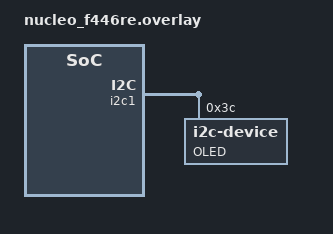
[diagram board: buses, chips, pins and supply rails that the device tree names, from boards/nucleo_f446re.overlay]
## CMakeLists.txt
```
# SPDX-License-Identifier: Apache-2.0

cmake_minimum_required(VERSION 3.20.0)
find_package(Zephyr REQUIRED HINTS $ENV{ZEPHYR_BASE})
project(c_the_world)

target_sources(app PRIVATE src/main.c src/display.c src/utils.c)
target_include_directories(app PRIVATE include)
```

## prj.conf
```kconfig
# Required for GPIO communication
CONFIG_GPIO=y
# Required for I2C communications
CONFIG_I2C=y

# Required if using the shell
CONFIG_SHELL=y
# Useful for I2C commands for testing
CONFIG_I2C_SHELL=y
```

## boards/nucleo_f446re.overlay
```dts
/* i2c connections */
&i2c1 {
    oled: oled@3c{
        compatible = "i2c-device";
        reg = < 0x3c >;
        label = "OLED";
    };
};
```

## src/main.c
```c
#include <zephyr/kernel.h>

#include "display.h"
#include "utils.h"

int main(void)
{
	if (!device_is_ready(display_i2c.bus))
	{
		printk("I2C bus %s is not ready!\n\r", display_i2c.bus->name);
		return 0;
	}

	init_display(&display_i2c);

	return 0;
}
```

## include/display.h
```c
#include <zephyr/drivers/i2c.h>

#pragma once

// Defining an I2C node named "oled"
// - "oled" must be mapped in the overlay or device tree
#define I2C0_NODE DT_NODELABEL(oled)

// Init commands
// "oled" dimensions
#define OLED_PAGES 8
#define OLED_HEIGHT 64
#define OLED_WIDTH 128
// this = OLED_WIDTH / 8
#define OLED_BYTES_PER_ROW 16

// "oled" commands
#define DISPLAY_OFF 0xAE
#define DISPLAY_ON 0xAF

#define CLOCK 0xD5
#define CLOCK_DEFAULT 0x80

#define MULTIPLEX 0xA8
#define MULTIPLEX_VALUE 0x3F

#define DISPLAY_OFFSET 0xD3
#define DISPLAY_OFFSET_DEFAULT 0x00

#define START_LINE 0x40

#define CHARGE_PUMP 0x8D
#define CHARGE_PUMP_ON 0x14

#define MEMORY_WRITE_MODE 0x20
// 0x00 is go right along the row then go next at the end
#define MEMORY_WRITE_BY_PAGE 0x00

// 0xA1 start left
// 0xA0 start right
#define HORIZONTAL_ORIENTATION 0xA1
// 0xC8 start top
// 0xC8 start bottom
#define VERTICAL_ORIENTATION 0xC8

#define COM_PINS 0xDA
#define COM_PINS_VALUE 0x12

#define BRIGHTNESS 0x81
// 0x00 - 0xFF
#define BRIGHTNESS_LEVEL 0xCF

#define CONTRAST_POWER_EFFICIENCY 0xD9
#define CONTRAST_POWER_EFFICIENCY_VALUE 0xF1

#define STABILITY_POWER_CONSUMPTION 0xDB
#define STABILITY_POWER_CONSUMPTION_VALUE 0x40

#define DISPLAY_RAM 0xA4
#define DISPLAY_ALL_ON 0xA5

#define NORMAL_DISPLAY 0xA6
// Just means instead of 0 off, 1 on -> 0 on, 1 off
#define INVERSE_DISPLAY 0xA7

// Flushing
#define FLUSH_BYTES 16

extern const struct i2c_dt_spec display_i2c;

void init_display(const struct i2c_dt_spec *device_spec);

// int write_pixel(const uint8_t page, const uint8_t y, const uint8_t value);

void draw_bitmap(const uint8_t *bitmap, uint8_t width, uint8_t height, uint8_t bytes_per_row);

void flush_buffer(const struct i2c_dt_spec *device_spec);
```

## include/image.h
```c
#pragma once

#define BACKGROUND_HEIGHT 64
#define BACKGROUND_WIDTH 128
// this = BACKGROUND_WIDTH / 8
#define BACKGROUND_BYTES_PER_ROW 16

unsigned const char raw_background[] = {
    0x00, 0x00, 0x00, 0x00, 0x00, 0x00, 0x00, 0x00, 0x00, 0x00, 0x00, 0x00,
    0x00, 0x00, 0x00, 0x00, 0x00, 0x00, 0x80, 0x00, 0x00, 0x00, 0x00, 0x00,
    0x00, 0x00, 0x00, 0x00, 0x00, 0x00, 0x00, 0x00, 0x02, 0x10, 0x00, 0x00,
    0x00, 0x00, 0x40, 0x00, 0x00, 0x00, 0x00, 0x00, 0x00, 0x00, 0x40, 0x00,
    0x10, 0x38, 0x00, 0x01, 0x02, 0x00, 0xe0, 0x44, 0x00, 0x00, 0x00, 0x01,
    0x02, 0x00, 0xe0, 0x04, 0x00, 0x10, 0x10, 0x04, 0x00, 0x00, 0x40, 0x00,
    0x00, 0x00, 0x00, 0x04, 0x00, 0x00, 0x40, 0x00, 0x00, 0x00, 0x00, 0x00,
    0x00, 0x00, 0x00, 0x00, 0x00, 0x00, 0x00, 0x00, 0x00, 0x00, 0x00, 0x00,
    0x00, 0x00, 0x00, 0x00, 0x00, 0x00, 0x00, 0x00, 0x00, 0x00, 0x40, 0x00,
    0x00, 0x00, 0x00, 0x00, 0x00, 0x00, 0x00, 0x00, 0x00, 0x10, 0x00, 0x20,
    0x00, 0x00, 0x00, 0x00, 0x00, 0x10, 0x00, 0x20, 0x20, 0x00, 0x00, 0x00,
    0x00, 0x00, 0x00, 0x01, 0x00, 0x00, 0x00, 0x00, 0x00, 0x00, 0x00, 0x01,
    0x00, 0xe0, 0x02, 0x00, 0x00, 0x00, 0x00, 0x00, 0x00, 0x10, 0x00, 0x00,
    0x00, 0x00, 0x00, 0x00, 0x03, 0xc0, 0x00, 0x00, 0x00, 0x00, 0x00, 0x00,
    0x00, 0x00, 0x00, 0x00, 0x00, 0x00, 0x00, 0x00, 0x0f, 0x80, 0x00, 0x40,
    0x00, 0x00, 0x00, 0x00, 0x00, 0x00, 0x00, 0x40, 0x00, 0x00, 0x00, 0x00,
    0x1f, 0x00, 0x00, 0x00, 0x00, 0x00, 0x00, 0x00, 0x00, 0x00, 0x00, 0x00,
    0x00, 0x00, 0x00, 0x00, 0x1e, 0x00, 0x00, 0x00, 0x00, 0x00, 0x00, 0x00,
    0x00, 0x00, 0x00, 0x00, 0x00, 0x00, 0x00, 0x00, 0x3d, 0x00, 0x02, 0x00,
    0x00, 0x00, 0x00, 0x00, 0x00, 0x00, 0x00, 0x00, 0x00, 0x00, 0x00, 0x60,
    0x3e, 0x00, 0x00, 0x00, 0x00, 0x00, 0x00, 0x00, 0x00, 0x00, 0x00, 0x00,
    0x00, 0x00, 0x01, 0xf9, 0x7d, 0x00, 0x00, 0x00, 0x00, 0x80, 0x00, 0x01,
    0x00, 0x00, 0x00, 0x00, 0x00, 0x00, 0x03, 0xff, 0x7e, 0x00, 0x00, 0x00,
    0x00, 0x00, 0x00, 0x00, 0x00, 0x00, 0x00, 0x00, 0x0e, 0x3f, 0x07, 0xff,
    0x7d, 0x00, 0x10, 0x40, 0x00, 0x00, 0x00, 0x00, 0x00, 0x00, 0x00, 0x40,
    0x1f, 0xff, 0xcf, 0xff, 0x7e, 0x80, 0x20, 0x00, 0x00, 0x00, 0x00, 0x00,
    0x00, 0x00, 0x00, 0x00, 0x7f, 0xff, 0xff, 0xfe, 0x7f, 0x40, 0x50, 0x00,
    0x00, 0x00, 0x00, 0x00, 0x00, 0x04, 0x00, 0x00, 0xff, 0xff, 0xef, 0xf5,
    0x3f, 0xaa, 0xa0, 0x00, 0x00, 0x00, 0x00, 0x00, 0x00, 0x00, 0x00, 0x00,
    0xff, 0xff, 0xff, 0xaa, 0x3f, 0xd5, 0x60, 0x00, 0x00, 0x00, 0x00, 0x00,
    0x00, 0x00, 0x00, 0x00, 0xff, 0xfd, 0xdf, 0xd7, 0x1f, 0xff, 0xc0, 0x00,
    0x00, 0x00, 0x00, 0x00, 0x00, 0x00, 0x00, 0x00, 0x7f, 0xff, 0xf5, 0x6f,
    0x1f, 0xff, 0xc0, 0x00, 0x80, 0x80, 0x00, 0x00, 0x00, 0x00, 0x00, 0x00,
    0x7f, 0xfb, 0xfa, 0xbf, 0x0f, 0xff, 0x80, 0x00, 0x00, 0x00, 0x04, 0x00,
    0x00, 0x00, 0x00, 0x00, 0x5f, 0xdf, 0xff, 0xff, 0x03, 0xfe, 0x00, 0x00,
    0x00, 0x00, 0x00, 0x00, 0x00, 0x00, 0x00, 0x00, 0x2a, 0xaf, 0xff, 0xf8,
    0x00, 0xf8, 0x00, 0x00, 0x00, 0x00, 0x00, 0x00, 0x00, 0x00, 0x00, 0x00,
    0xd5, 0x5f, 0xfc, 0x02, 0x00, 0x00, 0x00, 0x00, 0x00, 0x00, 0x00, 0x00,
    0x00, 0x00, 0x00, 0x01, 0xea, 0xbf, 0xf9, 0x55, 0x00, 0x00, 0x40, 0x00,
    0x00, 0x00, 0x00, 0x00, 0x00, 0x00, 0x00, 0x07, 0xff, 0xff, 0xc2, 0xaa,
    0x00, 0x00, 0xa0, 0x00, 0x00, 0x00, 0x00, 0x00, 0x00, 0x00, 0x00, 0x0f,
    0xff, 0xff, 0x95, 0x05, 0x00, 0x00, 0x40, 0x00, 0x01, 0x00, 0x00, 0x00,
    0x00, 0x04, 0x00, 0x1f, 0xfc, 0x00, 0x28, 0x00, 0x00, 0x00, 0x00, 0x00,
    0x00, 0x00, 0x00, 0x00, 0x20, 0x00, 0x00, 0x3f, 0xf9, 0x54, 0x40, 0x00,
    0x08, 0x00, 0x00, 0x00, 0x00, 0x00, 0x00, 0x00, 0x70, 0x00, 0x00, 0x2f,
    0x82, 0xa9, 0x00, 0xa0, 0x00, 0x00, 0x00, 0x00, 0x00, 0x00, 0x00, 0x80,
    0x20, 0x00, 0x00, 0x30, 0x15, 0x52, 0x00, 0x40, 0x40, 0x00, 0x00, 0x00,
    0x00, 0x00, 0x00, 0x00, 0x00, 0x00, 0x00, 0x2a, 0xaa, 0xa0, 0x00, 0x80,
    0x00, 0x00, 0x10, 0x00, 0x00, 0x00, 0x00, 0x00, 0x00, 0x00, 0x00, 0x15,
    0x55, 0x00, 0x01, 0x04, 0x00, 0x00, 0x00, 0x01, 0x00, 0x00, 0x00, 0x00,
    0x00, 0x00, 0x00, 0x1a, 0xa8, 0x00, 0x20, 0x08, 0x00, 0x00, 0x00, 0x00,
    0x00, 0x00, 0x00, 0x00, 0x00, 0x00, 0x00, 0x0d, 0x50, 0x00, 0x10, 0x1e,
    0x00, 0x00, 0x00, 0x00, 0x00, 0x00, 0x00, 0x00, 0x00, 0x00, 0x00, 0x06,
    0xa0, 0x06, 0x00, 0x30, 0x00, 0x00, 0x00, 0x00, 0x00, 0x00, 0x00, 0x00,
    0x00, 0x00, 0x00, 0x04, 0x00, 0x23, 0x00, 0x64, 0x00, 0x00, 0x00, 0x00,
    0x00, 0x01, 0x00, 0x00, 0x00, 0x00, 0x00, 0x02, 0x00, 0xf1, 0x81, 0xdf,
    0x00, 0x00, 0x00, 0x00, 0x00, 0x00, 0x00, 0x00, 0x00, 0x00, 0x00, 0x01,
    0x80, 0x1c, 0xc3, 0xf0, 0x00, 0x00, 0x00, 0x00, 0x00, 0x00, 0x00, 0x00,
    0x00, 0x00, 0x00, 0x00, 0x40, 0x06, 0xef, 0x80, 0x00, 0x00, 0x00, 0x00,
    0x00, 0x00, 0x00, 0x00, 0x20, 0x00, 0x00, 0x02, 0x20, 0x03, 0x36, 0x0c,
    0x00, 0x00, 0x00, 0x00, 0x00, 0x00, 0x00, 0x00, 0x00, 0x00, 0x00, 0x00,
    0x1e, 0x01, 0xd2, 0x33, 0x00, 0x00, 0x00, 0x00, 0x08, 0x00, 0x00, 0x00,
    0x00, 0x00, 0x80, 0x00, 0x01, 0xfc, 0xf8, 0xc0, 0x00, 0x00, 0x00, 0x00,
    0x00, 0x00, 0x00, 0x00, 0x00, 0x00, 0x00, 0x00, 0x00, 0x00, 0x3c, 0x00,
    0x00, 0x00, 0x00, 0x00, 0x00, 0x00, 0x00, 0x00, 0x00, 0x00, 0x00, 0x00,
    0x00, 0x00, 0x5e, 0x00, 0x00, 0x00, 0x00, 0x00, 0x00, 0x00, 0x00, 0x00,
    0x00, 0x00, 0x00, 0x00, 0x00, 0x20, 0x2e, 0x00, 0x50, 0x00, 0x00, 0x00,
    0x00, 0x00, 0x00, 0x00, 0x00, 0x00, 0x00, 0x00, 0x00, 0x50, 0x37, 0x14,
    0x28, 0x00, 0x0a, 0x00, 0x00, 0x00, 0x00, 0x08, 0x00, 0x00, 0x00, 0x00,
    0x00, 0x00, 0x17, 0x08, 0x14, 0x00, 0x0f, 0x00, 0x00, 0x00, 0x00, 0x00,
    0x00, 0x00, 0x00, 0x00, 0x00, 0x00, 0x17, 0x00, 0x08, 0x00, 0x0f, 0x00,
    0x80, 0x00, 0x00, 0x00, 0x00, 0x00, 0x00, 0x00, 0x00, 0x00, 0x17, 0x00,
    0x14, 0x00, 0x0f, 0x00, 0x00, 0x00, 0x00, 0x00, 0x00, 0x00, 0x00, 0x00,
    0x80, 0x00, 0x17, 0x00, 0x48, 0x00, 0x0e, 0x00, 0x00, 0x00, 0x00, 0x00,
    0x00, 0x00, 0x00, 0x00, 0x00, 0x00, 0x17, 0x00, 0x88, 0x00, 0x1e, 0x00,
    0x00, 0x00, 0x00, 0x00, 0x00, 0x00, 0x00, 0x00, 0x00, 0x00, 0x2d, 0x00,
    0x48, 0x08, 0x3e, 0x00, 0x00, 0x00, 0x00, 0x00, 0x00, 0x00, 0x00, 0x00,
    0x00, 0x50, 0x1d, 0x40, 0xa8, 0x04, 0x7e, 0x00, 0x00, 0x00, 0x00, 0x00,
    0x00, 0x00, 0x00, 0x00, 0x00, 0x20, 0x7b, 0x40, 0x48, 0x04, 0x7e, 0x00,
    0x00, 0x00, 0x00, 0x00, 0x00, 0x00, 0x00, 0x00, 0x00, 0x01, 0xee, 0xe0,
    0x48, 0x06, 0x7e, 0x00, 0x00, 0x00, 0x00, 0x00, 0x00, 0x00, 0x00, 0x00,
    0x00, 0x03, 0xcd, 0xf0, 0x48, 0x03, 0xfb, 0x00, 0x00, 0x00, 0x00, 0x00,
    0x00, 0x10, 0x08, 0x00, 0x00, 0x0f, 0x0c, 0x38, 0x49, 0x24, 0x92, 0x49,
    0x24, 0x92, 0x41, 0x24, 0x45, 0x12, 0x11, 0x49, 0x24, 0x92, 0x49, 0x24,
    0x22, 0x22, 0x22, 0x22, 0x22, 0x22, 0x22, 0x22, 0x48, 0x98, 0x8c, 0xa2,
    0x22, 0x22, 0x22, 0x22};
```

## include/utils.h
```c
#pragma once

#define COMMAND_BYTE 0x00
#define DATA_BYTE 0x40

#define MAX_BUFFER_SIZE 16

int write_i2c_command(const struct i2c_dt_spec *device, char command);

int write_data_i2c_command(const struct i2c_dt_spec *device_spec, uint8_t *data, uint8_t width);

void handle_i2c_write_failure(const struct i2c_dt_spec *device_spec, char command);

void handle_i2c_write_data_failure(const struct i2c_dt_spec *device_spec);
```

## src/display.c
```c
#include <zephyr/kernel.h>

#include "display.h"
#include "utils.h"
#include "image.h"

// Initializing the node we just defined
const struct i2c_dt_spec display_i2c = I2C_DT_SPEC_GET(I2C0_NODE);

// Initializing the display buffer
// - width * height / 8bits per byte
static uint8_t display_buffer[OLED_HEIGHT * OLED_WIDTH / 8];

// Sequence of commands for startup of display
static const uint8_t init_commands[] = {
    DISPLAY_OFF,
    CLOCK, CLOCK_DEFAULT,
    MULTIPLEX, MULTIPLEX_VALUE,
    DISPLAY_OFFSET, DISPLAY_OFFSET_DEFAULT,
    START_LINE,
    CHARGE_PUMP, CHARGE_PUMP_ON,
    MEMORY_WRITE_MODE, MEMORY_WRITE_BY_PAGE,
    HORIZONTAL_ORIENTATION, VERTICAL_ORIENTATION,
    COM_PINS, COM_PINS_VALUE,
    BRIGHTNESS, BRIGHTNESS_LEVEL,
    CONTRAST_POWER_EFFICIENCY, CONTRAST_POWER_EFFICIENCY_VALUE,
    STABILITY_POWER_CONSUMPTION, STABILITY_POWER_CONSUMPTION_VALUE,
    DISPLAY_RAM,
    NORMAL_DISPLAY,
    DISPLAY_ON};

// Starts up the display
void init_display(const struct i2c_dt_spec *device_spec)
{
    // Ensure power stablized
    k_sleep(K_MSEC(1000));

    for (size_t i = 0; i < sizeof(init_commands); i++)
    {
        if (write_i2c_command(device_spec, init_commands[i]))
        {
            handle_i2c_write_failure(device_spec, init_commands[i]);
            return;
        }
    }

    memset(display_buffer, 0, sizeof(display_buffer));

    draw_bitmap(raw_background, BACKGROUND_WIDTH, BACKGROUND_HEIGHT, BACKGROUND_BYTES_PER_ROW);

    flush_buffer(device_spec);
}

void flush_buffer(const struct i2c_dt_spec *device_spec)
{
    // Current code skips last partial chunk unless display_buffer is divisible by FLUSH_BYTES
    // In this case 1024 / 16 = 64
    for (uint8_t i = 0; i < sizeof(display_buffer) / FLUSH_BYTES; i++)
    {
        if (write_data_i2c_command(device_spec, &display_buffer[i * FLUSH_BYTES], FLUSH_BYTES))
        {
            handle_i2c_write_data_failure(device_spec);
            return;
        }
    }
}

// int write_pixel(const uint8_t row, const uint8_t col, const uint8_t value)
// {
//     uint8_t page = row / 8;
//     uint8_t bit = (1 << (row % 8));

//     if (value)
//         display_buffer[page][col] |= bit;
//     else
//         display_buffer[page][col] &= ~bit;
// }

void draw_bitmap(const uint8_t *bitmap, uint8_t width, uint8_t height, uint8_t bytes_per_row)
{
    if (width > OLED_WIDTH)
    {
        printk("Failed to draw bitmap onto OLED!");
        return;
    }

    for (uint8_t page = 0; page < OLED_PAGES; page++)
    {
        for (uint8_t col = 0; col < width; col++)
        {
            uint8_t byte = 0;

            // Construct vertical byte across 8 rows for the same column
            // - Assuming bitmap is ROW major
            // - Must convert to COLUMN major fit for our OLED
            for (uint8_t bit = 0; bit < 8; bit++)
            {
                uint8_t row = page * 8 + bit;
                uint8_t bitmap_byte = bitmap[row * bytes_per_row + (col / 8)];
                uint8_t bitmap_bit = (bitmap_byte >> (7 - (col % 8))) & 0x1;

                byte |= (bitmap_bit << bit);
            }

            display_buffer[page * OLED_WIDTH + col] = byte;
        }
    }
}
```

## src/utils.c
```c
#include <zephyr/kernel.h>
#include <zephyr/drivers/i2c.h>

#include "utils.h"

static uint8_t buffer[MAX_BUFFER_SIZE + 1];

// Reusabe helper to write commands to i2c devices
int write_i2c_command(const struct i2c_dt_spec *device_spec, char command)
{
    // I2C commands are prefixed with the 0x00 byte first
    uint8_t prepared_command[2] = {COMMAND_BYTE, (uint8_t)command};

    // Return back wehther or not it failed
    return i2c_write_dt(device_spec, prepared_command, sizeof(prepared_command));
}

// Reusabe helper to write data to i2c devices
int write_data_i2c_command(const struct i2c_dt_spec *device_spec, uint8_t *data, uint8_t width)
{
    if (width > MAX_BUFFER_SIZE)
        return 1;

    // I2C data writes are prefixed with the 0x40 byte first
    buffer[0] = DATA_BYTE;

    memcpy(&buffer[1], data, width);

    // Return back wehther or not it failed
    return i2c_write_dt(device_spec, buffer, width + 1);
}

void handle_i2c_write_failure(const struct i2c_dt_spec *device_spec, char command)
{
    printk("Failed to write to I2C device address %x using command %x \n\r",
           device_spec->addr, command);
}

void handle_i2c_write_data_failure(const struct i2c_dt_spec *device_spec)
{
    printk("Failed to write data to I2C device address %x \n\r",
           device_spec->addr);
}
```
